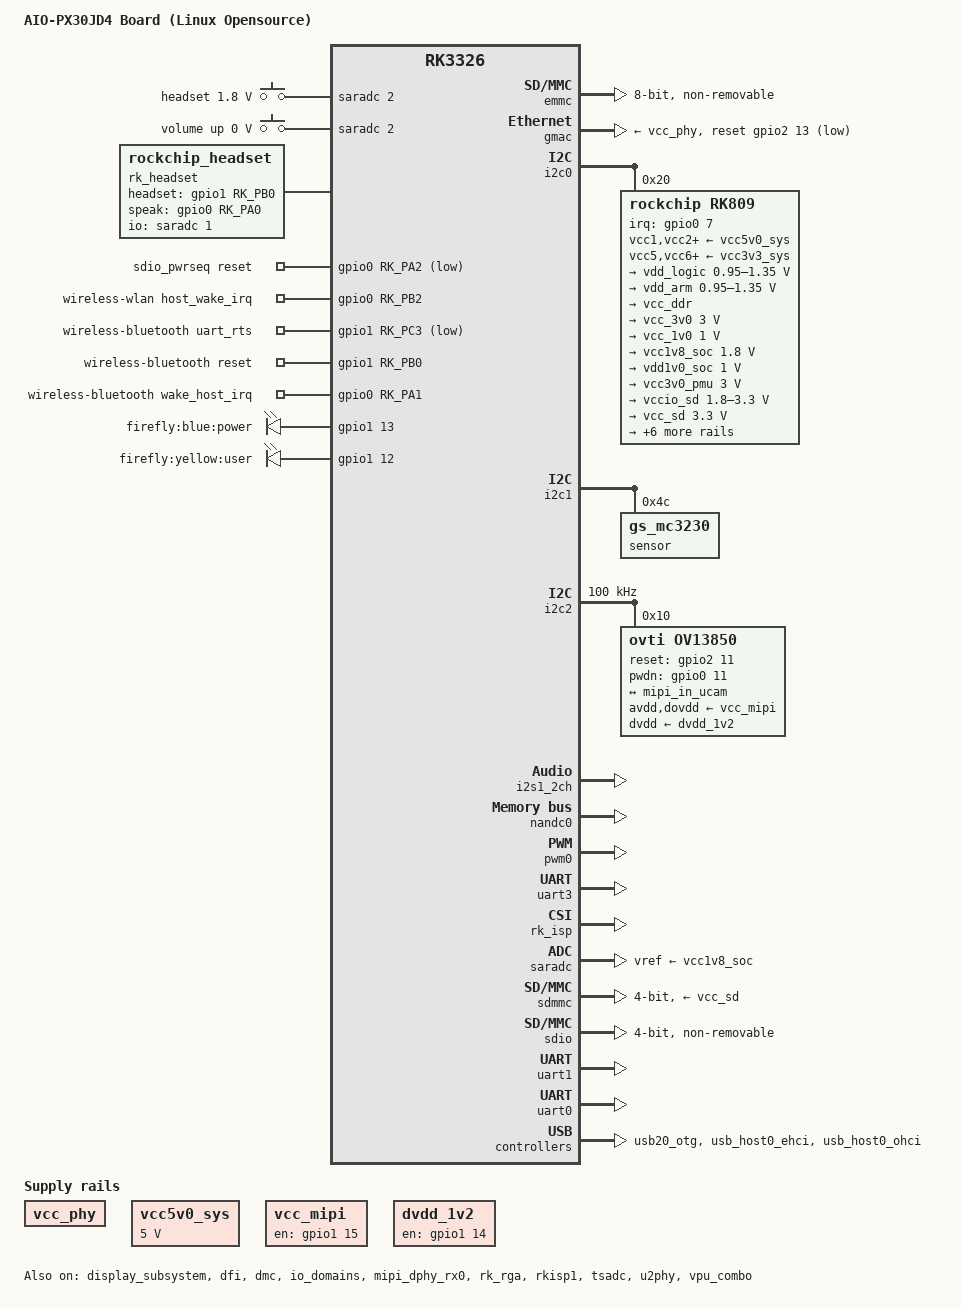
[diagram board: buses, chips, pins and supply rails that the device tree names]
/*
 * Copyright (c) 2017 Fuzhou Rockchip Electronics Co., Ltd
 *
 * SPDX-License-Identifier: (GPL-2.0+ OR MIT)
 */

/dts-v1/;
#include <dt-bindings/gpio/gpio.h>
#include <dt-bindings/pinctrl/rockchip.h>
#include <dt-bindings/input/input.h>
#include <dt-bindings/sensor-dev.h>
#include "px30.dtsi"
#include "rk3326-linux.dtsi"

/ {
	model = "AIO-PX30JD4 Board (Linux Opensource)";
	compatible = "firefly,px30-firefly-aiojd4","rockchip,px30";

	adc-keys {
		compatible = "adc-keys";
		io-channels = <&saradc 2>;
		io-channel-names = "buttons";
		poll-interval = <100>;
		keyup-threshold-microvolt = <28000>;

		headset-key {
			linux,code = <KEY_MEDIA>;
			label = "headset";
			press-threshold-microvolt = <1800000>;
		};

		vol-up-key {
			linux,code = <KEY_VOLUMEUP>;
			label = "volume up";
			press-threshold-microvolt = <0>;
		};
	};

	charge-animation {
		compatible = "rockchip,uboot-charge";
		rockchip,uboot-charge-on = <0>;
		rockchip,android-charge-on = <1>;
		rockchip,uboot-low-power-voltage = <3500>;
		rockchip,screen-on-voltage = <3600>;
		status = "okay";
	};
	rk809-sound {
		compatible = "simple-audio-card";
		simple-audio-card,format = "i2s";
		simple-audio-card,name = "rockchip,rk809-codec";
		simple-audio-card,mclk-fs = <256>;
		simple-audio-card,widgets =
			"Microphone", "Mic Jack",
			"Headphone", "Headphone Jack";
		simple-audio-card,routing =
			"Mic Jack", "MICBIAS1",
			"IN1P", "Mic Jack",
			"Headphone Jack", "HPOL",
			"Headphone Jack", "HPOR";
		simple-audio-card,cpu {
			sound-dai = <&i2s1_2ch>;
		};
		simple-audio-card,codec {
			sound-dai = <&rk809_codec>;
		};
	};

	rk_headset {
		compatible = "rockchip_headset";
		headset_gpio = <&gpio1 RK_PB0 GPIO_ACTIVE_HIGH>;
		speak_gpio = <&gpio0 RK_PA0 GPIO_ACTIVE_HIGH>;
		pinctrl-names = "default";
		pinctrl-0 = <&hp_det>;
		io-channels = <&saradc 1>;
	};

	sdio_pwrseq: sdio-pwrseq {
		compatible = "mmc-pwrseq-simple";
		/*clocks = <&rk809 1>;*/
		/*clock-names = "ext_clock";*/
		pinctrl-names = "default";
		pinctrl-0 = <&wifi_enable_h>;

		/*
		 * On the module itself this is one of these (depending
		 * on the actual card populated):
		 * - SDIO_RESET_L_WL_REG_ON
		 * - PDN (power down when low)
		 */
		reset-gpios = <&gpio0 RK_PA2 GPIO_ACTIVE_LOW>; /* GPIO3_A4 */
	};

	vcc_phy: vcc-phy-regulator {
		compatible = "regulator-fixed";
		regulator-name = "vcc_phy";
		regulator-always-on;
		regulator-boot-on;
	};

	vcc5v0_sys: vccsys {
		compatible = "regulator-fixed";
		regulator-name = "vcc5v0_sys";
		regulator-always-on;
		regulator-boot-on;
		regulator-min-microvolt = <5000000>;
		regulator-max-microvolt = <5000000>;
	};

    /*
	vcc5v0_host_en: vcc5v0-host-en-regulator {
		compatible = "regulator-fixed";
		enable-active-high;
		gpio = <&gpio2 12 GPIO_ACTIVE_HIGH>;
		pinctrl-names = "default";
		pinctrl-0 = <&host_vbus_drv>;
		regulator-name = "vcc5v0_host_en";
		regulator-always-on;
	};
	*/

	vcc_mipi: vcc_mipi {
		compatible = "regulator-fixed";
		enable-active-high;
		gpio = <&gpio1 15 GPIO_ACTIVE_HIGH>;
		pinctrl-names = "default";
		pinctrl-0 = <&dvp_pwr>;
		regulator-name = "vcc_mipi";
	};

	dvdd_1v2: dvdd-1v2 {
		compatible = "regulator-fixed";
		enable-active-high;
		gpio = <&gpio1 14 GPIO_ACTIVE_HIGH>;
		pinctrl-names = "default";
		pinctrl-0 = <&cif_pwr>;
		regulator-name = "dvdd_1v2";
	};

	wireless-wlan {
		compatible = "wlan-platdata";
		wifi_chip_type = "rtl8723ds";
		WIFI,host_wake_irq = <&gpio0 RK_PB2 GPIO_ACTIVE_HIGH>;
		status = "okay";
	};

	wireless-bluetooth {
		compatible = "bluetooth-platdata";
		clocks = <&rk809 1>;
		clock-names = "ext_clock";
		uart_rts_gpios = <&gpio1 RK_PC3 GPIO_ACTIVE_LOW>;
		pinctrl-names = "default","rts_gpio";
		pinctrl-0 = <&uart1_rts>, <&bt_reset>;
		pinctrl-1 = <&uart1_rts_gpio>;
		BT,reset_gpio = <&gpio1 RK_PB0 GPIO_ACTIVE_HIGH>;
		//BT,wake_gpio = <&gpio0 RK_PB3 GPIO_ACTIVE_HIGH>;
		BT,wake_host_irq = <&gpio0 RK_PA1 GPIO_ACTIVE_HIGH>;
		status = "okay";
	};

	leds {
       compatible = "gpio-leds";
       power_led: power {
           label = "firefly:blue:power";
           linux,default-trigger = "ir-power-click";
           default-state = "on";
           gpios = <&gpio1 13 GPIO_ACTIVE_HIGH>;
           pinctrl-names = "default";
           pinctrl-0 = <&led_power>;
       };
       user_led: user {
           label = "firefly:yellow:user";
           linux,default-trigger = "ir-user-click";
           default-state = "off";
           gpios = <&gpio1 12 GPIO_ACTIVE_HIGH>;
           pinctrl-names = "default";
           pinctrl-0 = <&led_user>;
       };
   };
};

&display_subsystem {
	status = "okay";
};

&bus_apll {
	bus-supply = <&vdd_logic>;
	status = "okay";
};

&cpu0 {
	cpu-supply = <&vdd_arm>;
};

&dsi_in_vopl {
	status = "disabled";
};

&dfi {
	status = "okay";
};

&dmc {
	center-supply = <&vdd_logic>;
	status = "okay";
};

&emmc {
	bus-width = <8>;
	cap-mmc-highspeed;
	mmc-hs200-1_8v;
	supports-emmc;
	disable-wp;
	non-removable;
	num-slots = <1>;
	status = "okay";
};

&gmac {
	phy-supply = <&vcc_phy>;
	clock_in_out = "output";
	snps,reset-gpio = <&gpio2 13 GPIO_ACTIVE_LOW>;
	snps,reset-active-low;
	snps,reset-delays-us = <0 50000 50000>;
	status = "okay";
};

&i2c0 {
	status = "okay";

	rk809: pmic@20 {
		compatible = "rockchip,rk809";
		reg = <0x20>;
		interrupt-parent = <&gpio0>;
		interrupts = <7 IRQ_TYPE_LEVEL_LOW>;
		pinctrl-names = "default", "pmic-sleep",
				"pmic-power-off", "pmic-reset";
		pinctrl-0 = <&pmic_int>;
		pinctrl-1 = <&soc_slppin_slp>, <&rk817_slppin_slp>;
		pinctrl-2 = <&soc_slppin_gpio>, <&rk817_slppin_pwrdn>;
		pinctrl-3 = <&soc_slppin_rst>, <&rk817_slppin_rst>;
		rockchip,system-power-controller;
		wakeup-source;
		#clock-cells = <1>;
		clock-output-names = "rk808-clkout1", "rk808-clkout2";
		//fb-inner-reg-idxs = <2>;
		/* 1: rst regs (default in codes), 0: rst the pmic */
		pmic-reset-func = <1>;

		vcc1-supply = <&vcc5v0_sys>;
		vcc2-supply = <&vcc5v0_sys>;
		vcc3-supply = <&vcc5v0_sys>;
		vcc4-supply = <&vcc5v0_sys>;
		vcc5-supply = <&vcc3v3_sys>;
		vcc6-supply = <&vcc3v3_sys>;
		vcc7-supply = <&vcc3v3_sys>;
		vcc8-supply = <&vcc3v3_sys>;
		vcc9-supply = <&vcc5v0_sys>;

		pwrkey {
			status = "okay";
		};

		pinctrl_rk8xx: pinctrl_rk8xx {
			gpio-controller;
			#gpio-cells = <2>;

			rk817_slppin_null: rk817_slppin_null {
				pins = "gpio_slp";
				function = "pin_fun0";
			};

			rk817_slppin_slp: rk817_slppin_slp {
				pins = "gpio_slp";
				function = "pin_fun1";
			};

			rk817_slppin_pwrdn: rk817_slppin_pwrdn {
				pins = "gpio_slp";
				function = "pin_fun2";
			};

			rk817_slppin_rst: rk817_slppin_rst {
				pins = "gpio_slp";
				function = "pin_fun3";
			};
		};

		regulators {
			vdd_logic: DCDC_REG1 {
				regulator-always-on;
				regulator-boot-on;
				regulator-min-microvolt = <950000>;
				regulator-max-microvolt = <1350000>;
				regulator-ramp-delay = <6001>;
				regulator-initial-mode = <0x2>;
				regulator-name = "vdd_logic";
				regulator-state-mem {
					regulator-on-in-suspend;
					regulator-suspend-microvolt = <950000>;
				};
			};

			vdd_arm: DCDC_REG2 {
				regulator-always-on;
				regulator-boot-on;
				regulator-min-microvolt = <950000>;
				regulator-max-microvolt = <1350000>;
				regulator-ramp-delay = <6001>;
				regulator-initial-mode = <0x2>;
				regulator-name = "vdd_arm";
				regulator-state-mem {
					regulator-off-in-suspend;
					regulator-suspend-microvolt = <950000>;
				};
			};

			vcc_ddr: DCDC_REG3 {
				regulator-always-on;
				regulator-boot-on;
				regulator-name = "vcc_ddr";
				regulator-initial-mode = <0x2>;
				regulator-state-mem {
					regulator-on-in-suspend;
				};
			};

			vcc_3v0: DCDC_REG4 {
				regulator-always-on;
				regulator-boot-on;
				regulator-min-microvolt = <3000000>;
				regulator-max-microvolt = <3000000>;
				regulator-initial-mode = <0x2>;
				regulator-name = "vcc_3v0";
				regulator-state-mem {
					regulator-on-in-suspend;
					regulator-suspend-microvolt = <3000000>;
				};
			};

			vcc_1v0: LDO_REG1 {
				regulator-always-on;
				regulator-boot-on;
				regulator-min-microvolt = <1000000>;
				regulator-max-microvolt = <1000000>;
				regulator-name = "vcc_1v0";
				regulator-state-mem {
					regulator-on-in-suspend;
					regulator-suspend-microvolt = <1000000>;
				};
			};

			vcc1v8_soc: LDO_REG2 {
				regulator-always-on;
				regulator-boot-on;
				regulator-min-microvolt = <1800000>;
				regulator-max-microvolt = <1800000>;

				regulator-name = "vcc1v8_soc";
				regulator-state-mem {
					regulator-on-in-suspend;
					regulator-suspend-microvolt = <1800000>;
				};
			};

			vdd1v0_soc: LDO_REG3 {
				regulator-always-on;
				regulator-boot-on;
				regulator-min-microvolt = <1000000>;
				regulator-max-microvolt = <1000000>;

				regulator-name = "vcc1v0_soc";
				regulator-state-mem {
					regulator-on-in-suspend;
					regulator-suspend-microvolt = <1000000>;
				};
			};

			vcc3v0_pmu: LDO_REG4 {
				regulator-always-on;
				regulator-boot-on;
				regulator-min-microvolt = <3000000>;
				regulator-max-microvolt = <3000000>;

				regulator-name = "vcc3v0_pmu";
				regulator-state-mem {
					regulator-on-in-suspend;
					regulator-suspend-microvolt = <3000000>;

				};
			};

			vccio_sd: LDO_REG5 {
				regulator-always-on;
				regulator-boot-on;
				regulator-min-microvolt = <1800000>;
				regulator-max-microvolt = <3300000>;

				regulator-name = "vccio_sd";
				regulator-state-mem {
					regulator-on-in-suspend;
					regulator-suspend-microvolt = <3300000>;
				};
			};

			vcc_sd: LDO_REG6 {
				regulator-min-microvolt = <3300000>;
				regulator-max-microvolt = <3300000>;

				regulator-name = "vcc_sd";
				regulator-state-mem {
					regulator-on-in-suspend;
					regulator-suspend-microvolt = <3300000>;

				};
			};

			vcc2v8_dvp: LDO_REG7 {
				regulator-always-on;
				regulator-boot-on;
				regulator-min-microvolt = <2800000>;
				regulator-max-microvolt = <2800000>;

				regulator-name = "vcc2v8_dvp";
				regulator-state-mem {
					regulator-off-in-suspend;
					regulator-suspend-microvolt = <2800000>;
				};
			};

			vcc1v8_dvp: LDO_REG8 {
				regulator-always-on;
				regulator-boot-on;
				regulator-min-microvolt = <1800000>;
				regulator-max-microvolt = <1800000>;

				regulator-name = "vcc1v8_dvp";
				regulator-state-mem {
					regulator-on-in-suspend;
					regulator-suspend-microvolt = <1800000>;
				};
			};

			vdd1v5_dvp: LDO_REG9 {
				regulator-always-on;
				regulator-boot-on;
				regulator-min-microvolt = <1500000>;
				regulator-max-microvolt = <1500000>;

				regulator-name = "vdd1v5_dvp";
				regulator-state-mem {
					regulator-off-in-suspend;
					regulator-suspend-microvolt = <1500000>;
				};
			};

			vcc3v3_sys: DCDC_REG5 {
				regulator-always-on;
				regulator-boot-on;
				regulator-min-microvolt = <3300000>;
				regulator-max-microvolt = <3300000>;
				regulator-name = "vcc3v3_sys";
				regulator-state-mem {
					regulator-on-in-suspend;
					regulator-suspend-microvolt = <3300000>;
				};
			};

			vcc5v0_host: SWITCH_REG1 {
				regulator-name = "vcc5v0_host";
			};

			vcc3v3_lcd: SWITCH_REG2 {
				regulator-boot-on;
				regulator-name = "vcc3v3_lcd";
			};
		};

		rk809_codec: codec {
			#sound-dai-cells = <0>;
			compatible = "rockchip,rk809-codec", "rockchip,rk817-codec";
			clocks = <&cru SCLK_I2S1_OUT>;
			clock-names = "mclk";
			pinctrl-names = "default";
			pinctrl-0 = <&i2s1_2ch_mclk>;
			hp-volume = <20>;
			spk-volume = <3>;
			speak-gpio = <&gpio0 RK_PA0 GPIO_ACTIVE_HIGH>;
			status = "okay";
		};
	};
};

&i2c1 {
	status = "okay";

   sensor@4c {
        status = "okay";
        compatible = "gs_mc3230";
        reg = <0x4c>;
        type = <SENSOR_TYPE_ACCEL>;
        irq_enable = <0>;
        poll_delay_ms = <30>;
        layout = <1>;
    };

	gt1x: gt1x@14 {
        status = "disabled";
		compatible = "goodix,gt1x";
		reg = <0x14>;
		power-supply = <&vcc3v3_lcd>;
		goodix,rst-gpio = <&gpio0 RK_PB4 GPIO_ACTIVE_HIGH>;
		goodix,irq-gpio = <&gpio0 RK_PA5 IRQ_TYPE_LEVEL_LOW>;
	};


};

&i2c2 {
	status = "okay";

	clock-frequency = <100000>;

	/* These are relatively safe rise/fall times; TODO: measure */
	i2c-scl-falling-time-ns = <50>;
	i2c-scl-rising-time-ns = <300>;

	ov13850: ov13850@10 {
		compatible = "ovti,ov13850";
		status = "okay";
		reg = <0x10>;
		clocks = <&cru SCLK_CIF_OUT>;
		clock-names = "xvclk";

		/* conflict with csi-ctl-gpios */
		reset-gpios = <&gpio2 11 GPIO_ACTIVE_HIGH>;
		pwdn-gpios = <&gpio0 11 GPIO_ACTIVE_HIGH>;

		avdd-supply = <&vcc_mipi>; /* VCC28_MIPI */
		dovdd-supply = <&vcc_mipi>; /* VCC18_MIPI */
		dvdd-supply = <&dvdd_1v2>; /* DVDD_1V2 */

		rockchip,camera-module-index = <0>;
		rockchip,camera-module-facing = "back";
		rockchip,camera-module-name = "CMK-CT0116";
		rockchip,camera-module-lens-name = "Largan-50013A1";

		port {
			ucam_out: endpoint {
				remote-endpoint = <&mipi_in_ucam>;
				data-lanes = <1 2>;
			};
		};
	};
};

&i2s1_2ch {
	status = "okay";
	#sound-dai-cells = <0>;
};

&io_domains {
	status = "okay";

	vccio1-supply = <&vcc1v8_soc>;
	vccio2-supply = <&vccio_sd>;
	vccio3-supply = <&vcc_3v0>;
	vccio4-supply = <&vcc3v0_pmu>;
	vccio5-supply = <&vcc_3v0>;
};

&isp_mmu {
	status = "okay";
};

&mipi_dphy_rx0 {
	status = "okay";

	ports {
		#address-cells = <1>;
		#size-cells = <0>;

		port@0 {
			reg = <0>;
			#address-cells = <1>;
			#size-cells = <0>;

			mipi_in_ucam: endpoint@1 {
				reg = <1>;
				remote-endpoint = <&ucam_out>;
				data-lanes = <1 2>;
			};
		};

		port@1 {
			reg = <1>;
			#address-cells = <1>;
			#size-cells = <0>;

			dphy_rx0_out: endpoint@0 {
				reg = <0>;
				remote-endpoint = <&isp0_mipi_in>;
			};
		};
	};
};

&nandc0 {
	status = "okay";
};

&pinctrl {
	bluetooth {
		bt_reset: bt-reset{
			rockchip,pins = <1 RK_PB0 RK_FUNC_GPIO &pcfg_pull_none>;
		};
	};

	headphone {
		hp_det: hp-det {
			rockchip,pins = <1 RK_PB0 RK_FUNC_GPIO &pcfg_pull_down>;
		};
	};

	pmic {
		pmic_int: pmic_int {
			rockchip,pins =
				<0 RK_PA7 RK_FUNC_GPIO &pcfg_pull_up>;
		};

		soc_slppin_gpio: soc_slppin_gpio {
			rockchip,pins =
				<0 RK_PA4 RK_FUNC_GPIO &pcfg_output_low>;
		};

		soc_slppin_slp: soc_slppin_slp {
			rockchip,pins =
				<0 RK_PA4 RK_FUNC_1 &pcfg_pull_none>;
		};

		soc_slppin_rst: soc_slppin_rst {
			rockchip,pins =
				<0 RK_PA4 RK_FUNC_2 &pcfg_pull_none>;
		};
	};
    /*
	usb2 {
		host_vbus_drv: host-vbus-drv {
			rockchip,pins =
				<2 12 RK_FUNC_GPIO &pcfg_pull_none>;
		};
	};
	*/

	leds {
		led_power: led-power {
			rockchip,pins = <1 13 RK_FUNC_GPIO &pcfg_pull_none>;
		};

		led_user: led-user {
			rockchip,pins = <1 12 RK_FUNC_GPIO &pcfg_pull_none>;
		};
	};

	sdio-pwrseq {
		wifi_enable_h: wifi-enable-h {
			rockchip,pins = <0 RK_PA2 RK_FUNC_GPIO &pcfg_pull_none>;
		};
	};

	cam0 {
		cif_pwr: cif-pwr {
			rockchip,pins = <1 RK_PB6 RK_FUNC_GPIO &pcfg_pull_down>;
		};

		dvp_pwr: dvp-pwr {
			rockchip,pins = <1 RK_PB7 RK_FUNC_GPIO &pcfg_pull_down>;
		};
	};
};

&pmu_io_domains {
	status = "okay";

	pmuio1-supply = <&vcc3v0_pmu>;
	pmuio2-supply = <&vcc3v0_pmu>;
};

&pwm0 {
	status = "okay";
};

&uart3 {
	status = "okay"; // to enable uart3, plz disable pwm3
	pinctrl-0 = <&uart3m0_xfer &uart3m0_cts &uart3m0_rts>;
};

&pwm3 {
	status = "disabled";
	interrupts = <GIC_SPI 24 IRQ_TYPE_LEVEL_HIGH 0>;
	compatible = "rockchip,remotectl-pwm";
	pinctrl-names = "default";
	remote_pwm_id = <3>;
	handle_cpu_id = <0>;
	remote_support_psci = <1>;

    ir_key1{
        rockchip,usercode = <0xff00>;
        rockchip,key_table =
            <0xeb   KEY_POWER>,
            <0xec   KEY_COMPOSE>,
            <0xfe   KEY_BACK>,
            <0xb7   KEY_HOME>,
            <0xa3   KEY_WWW>,
            <0xf4   KEY_VOLUMEUP>,
            <0xa7   KEY_VOLUMEDOWN>,
            <0xf8   KEY_ENTER>,
            <0xfc   KEY_UP>,
            <0xfd   KEY_DOWN>,
            <0xf1   KEY_LEFT>,
            <0xe5   KEY_RIGHT>;
    };
};


&rk_rga {
	status = "okay";
};

&rk_isp {
	rockchip,gpios = <&gpio1 RK_PB7 GPIO_ACTIVE_HIGH>;
    status = "okay";
};

&rkisp1 {
	status = "okay";

	port {
		#address-cells = <1>;
		#size-cells = <0>;

		isp0_mipi_in: endpoint@0 {
			reg = <0>;
			remote-endpoint = <&dphy_rx0_out>;
		};
	};
};

&rockchip_suspend {
	status = "okay";
	rockchip,sleep-debug-en = <1>;
};


&saradc {
	status = "okay";
	vref-supply = <&vcc1v8_soc>;
};

&spi0 {
    status = "disabled"; /* spi0_clk conflicts with camera vcc_mipi */
    max-freq = <48000000>;

    spi_wk2xxx: spi_wk2xxx@00{
           status = "okay";
           compatible = "firefly,spi-wk2xxx";
           reg = <0x00>;
           spi-max-frequency = <10000000>;
           //reset-gpio = <&gpio2 11 GPIO_ACTIVE_HIGH>;
           //irq-gpio = <&gpio0 13 IRQ_TYPE_EDGE_FALLING>;
           cs-gpio = <&gpio1 14 GPIO_ACTIVE_LOW>;
       };
};

&sdmmc {
	bus-width = <4>;
	cap-mmc-highspeed;
	cap-sd-highspeed;
	supports-sd;
	card-detect-delay = <800>;
	ignore-pm-notify;
	/*cd-gpios = <&gpio2 4 GPIO_ACTIVE_HIGH>; [> CD GPIO <]*/
	sd-uhs-sdr12;
	sd-uhs-sdr25;
	sd-uhs-sdr50;
	sd-uhs-sdr104;
	vqmmc-supply = <&vccio_sd>;
	vmmc-supply = <&vcc_sd>;
	status = "okay";
};

&sdio {
	bus-width = <4>;
	cap-sd-highspeed;
	supports-sdio;
	ignore-pm-notify;
	keep-power-in-suspend;
	non-removable;
	mmc-pwrseq = <&sdio_pwrseq>;
	sd-uhs-sdr104;
	status = "okay";
};

&tsadc {
	pinctrl-names = "init", "default";
	pinctrl-0 = <&tsadc_otp_gpio>;
	pinctrl-1 = <&tsadc_otp_out>;
	status = "okay";
};

&uart1 {
	pinctrl-names = "default";
	pinctrl-0 = <&uart1_xfer &uart1_cts>;
	status = "okay";
};

&uart0 {
    pinctrl-names = "default";
    pinctrl-0 = <&uart0_xfer>;
    status = "okay";
};

&u2phy {
	status = "okay";

	u2phy_host: host-port {
		//phy-supply = <&vcc5v0_host_en>;
		status = "okay";
	};

	u2phy_otg: otg-port {
		status = "okay";
	};
};

&usb20_otg {
	status = "okay";
};

&usb_host0_ehci {
	status = "okay";
};

&usb_host0_ohci {
	status = "okay";
};

&vpu_combo {
	status = "okay";
};
